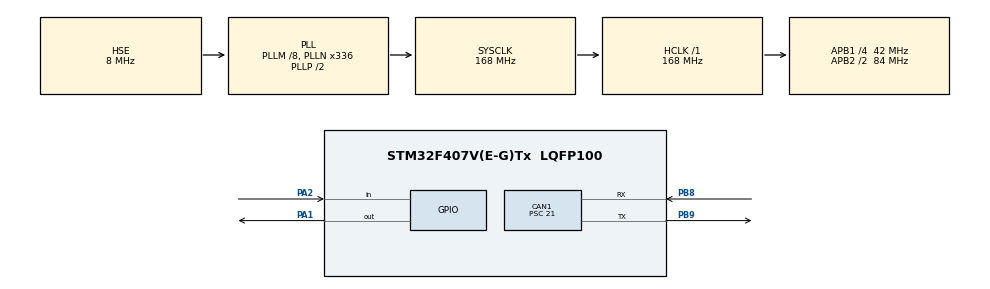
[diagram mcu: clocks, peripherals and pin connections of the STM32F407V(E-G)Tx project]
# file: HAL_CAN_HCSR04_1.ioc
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CAN1.BS1=CAN_BS1_10TQ
CAN1.BS2=CAN_BS2_5TQ
CAN1.CalculateBaudRate=125000
CAN1.CalculateTimeBit=8000
CAN1.CalculateTimeQuantum=500.0
CAN1.Prescaler=21
Mcu.Family=STM32F4
Mcu.Name=STM32F407V(E-G)Tx
Mcu.Package=LQFP100
NVIC.PriorityGroup=NVIC_PRIORITYGROUP_0
PA1.Signal=GPIO_Output
PA2.Signal=GPIO_Input
PB8.Mode=CAN_Activate
PB8.Signal=CAN1_RX
PB9.Mode=CAN_Activate
PB9.Signal=CAN1_TX
PH0-OSC_IN.Mode=HSE-External-Oscillator
PH0-OSC_IN.Signal=RCC_OSC_IN
PH1-OSC_OUT.Mode=HSE-External-Oscillator
PH1-OSC_OUT.Signal=RCC_OSC_OUT
ProjectManager.HeapSize=0x200
ProjectManager.StackSize=0x400
ProjectManager.TargetToolchain=STM32CubeIDE
RCC.48MHZClocksFreq_Value=48000000
RCC.AHBFreq_Value=168000000
RCC.APB1CLKDivider=RCC_HCLK_DIV4
RCC.APB1Freq_Value=42000000
RCC.APB1TimFreq_Value=84000000
RCC.APB2CLKDivider=RCC_HCLK_DIV2
RCC.APB2Freq_Value=84000000
RCC.APB2TimFreq_Value=168000000
RCC.CortexFreq_Value=168000000
RCC.HCLKFreq_Value=168000000
RCC.HSE_VALUE=8000000
RCC.HSI_VALUE=16000000
RCC.PLLM=8
RCC.PLLN=336
RCC.PLLQ=7
RCC.PLLSourceVirtual=RCC_PLLSOURCE_HSE
RCC.SYSCLKFreq_VALUE=168000000
RCC.SYSCLKSource=RCC_SYSCLKSOURCE_PLLCLK
RCC.VCOOutputFreq_Value=336000000
board=STM32F407G-DISC1

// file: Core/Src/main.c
/* USER CODE BEGIN Header */
/**
  ******************************************************************************
  * @file           : main.c
  * @brief          : Main program body
  ******************************************************************************
  * @attention
  *
  * Copyright (c) 2024 STMicroelectronics.
  * All rights reserved.
  *
  * This software is licensed under terms that can be found in the LICENSE file
  * in the root directory of this software component.
  * If no LICENSE file comes with this software, it is provided AS-IS.
  *
  ******************************************************************************
  */
/* USER CODE END Header */
#include "main.h"

/* USER CODE BEGIN Includes */
#include "dwt_stm32_delay.h"
/* USER CODE END Includes */

CAN_HandleTypeDef hcan1;

/* USER CODE BEGIN PV */

CAN_TxHeaderTypeDef pHeader;
uint32_t mTxMailbox;
uint32_t sensor_time;
uint32_t distance[2];

/* USER CODE END PV */

void SystemClock_Config(void);
static void MX_GPIO_Init(void);
static void MX_CAN1_Init(void);

/* USER CODE BEGIN 0 */
uint32_t Read_HCSR04()
{
	uint32_t local_time=0;
	HAL_GPIO_WritePin(GPIOA, GPIO_PIN_1, GPIO_PIN_SET);
	DWT_Delay_us(10);
	HAL_GPIO_WritePin(GPIOA, GPIO_PIN_1, GPIO_PIN_RESET);

	while(!(HAL_GPIO_ReadPin(GPIOA, GPIO_PIN_2)));

	while(HAL_GPIO_ReadPin(GPIOA, GPIO_PIN_2))
	{
		local_time++;
		DWT_Delay_us(1);

	}

	return local_time*2;

}

/* USER CODE END 0 */

int main(void)
{

  /* MCU Configuration--------------------------------------------------------*/

  /* Reset of all peripherals, Initializes the Flash interface and the Systick. */
  HAL_Init();

  /* Configure the system clock */
  SystemClock_Config();

  /* Initialize all configured peripherals */
  MX_GPIO_Init();
  MX_CAN1_Init();
  /* USER CODE BEGIN 2 */
  DWT_Delay_Init();
  pHeader.DLC=1;
  pHeader.IDE=CAN_ID_EXT;
  pHeader.RTR=CAN_RTR_DATA;
  pHeader.ExtId=0x0AF09CE6;

  HAL_CAN_Start(&hcan1);

  /* USER CODE END 2 */

  /* Infinite loop */
  while (1)
  {

    /* USER CODE BEGIN 3 */
	  sensor_time=Read_HCSR04();
	  distance[0]=sensor_time*0.34/2;
	  HAL_CAN_AddTxMessage(&hcan1, &pHeader, (uint8_t*)distance,mTxMailbox);

  }
  /* USER CODE END 3 */
}

void SystemClock_Config(void)
{
  RCC_OscInitTypeDef RCC_OscInitStruct = {0};
  RCC_ClkInitTypeDef RCC_ClkInitStruct = {0};

  /** Configure the main internal regulator output voltage
  */
  __HAL_RCC_PWR_CLK_ENABLE();
  __HAL_PWR_VOLTAGESCALING_CONFIG(PWR_REGULATOR_VOLTAGE_SCALE1);

  /** Initializes the RCC Oscillators according to the specified parameters
  * in the RCC_OscInitTypeDef structure.
  */
  RCC_OscInitStruct.OscillatorType = RCC_OSCILLATORTYPE_HSE;
  RCC_OscInitStruct.HSEState = RCC_HSE_ON;
  RCC_OscInitStruct.PLL.PLLState = RCC_PLL_ON;
  RCC_OscInitStruct.PLL.PLLSource = RCC_PLLSOURCE_HSE;
  RCC_OscInitStruct.PLL.PLLM = 8;
  RCC_OscInitStruct.PLL.PLLN = 336;
  RCC_OscInitStruct.PLL.PLLP = RCC_PLLP_DIV2;
  RCC_OscInitStruct.PLL.PLLQ = 7;
  if (HAL_RCC_OscConfig(&RCC_OscInitStruct) != HAL_OK)
  {
    Error_Handler();
  }

  /** Initializes the CPU, AHB and APB buses clocks
  */
  RCC_ClkInitStruct.ClockType = RCC_CLOCKTYPE_HCLK|RCC_CLOCKTYPE_SYSCLK
                              |RCC_CLOCKTYPE_PCLK1|RCC_CLOCKTYPE_PCLK2;
  RCC_ClkInitStruct.SYSCLKSource = RCC_SYSCLKSOURCE_PLLCLK;
  RCC_ClkInitStruct.AHBCLKDivider = RCC_SYSCLK_DIV1;
  RCC_ClkInitStruct.APB1CLKDivider = RCC_HCLK_DIV4;
  RCC_ClkInitStruct.APB2CLKDivider = RCC_HCLK_DIV2;

  if (HAL_RCC_ClockConfig(&RCC_ClkInitStruct, FLASH_LATENCY_5) != HAL_OK)
  {
    Error_Handler();
  }
}

static void MX_CAN1_Init(void)
{

  hcan1.Instance = CAN1;
  hcan1.Init.Prescaler = 21;
  hcan1.Init.Mode = CAN_MODE_NORMAL;
  hcan1.Init.SyncJumpWidth = CAN_SJW_1TQ;
  hcan1.Init.TimeSeg1 = CAN_BS1_10TQ;
  hcan1.Init.TimeSeg2 = CAN_BS2_5TQ;
  hcan1.Init.TimeTriggeredMode = DISABLE;
  hcan1.Init.AutoBusOff = DISABLE;
  hcan1.Init.AutoWakeUp = DISABLE;
  hcan1.Init.AutoRetransmission = DISABLE;
  hcan1.Init.ReceiveFifoLocked = DISABLE;
  hcan1.Init.TransmitFifoPriority = DISABLE;
  if (HAL_CAN_Init(&hcan1) != HAL_OK)
  {
    Error_Handler();
  }

}

static void MX_GPIO_Init(void)
{
  GPIO_InitTypeDef GPIO_InitStruct = {0};

  /* GPIO Ports Clock Enable */
  __HAL_RCC_GPIOH_CLK_ENABLE();
  __HAL_RCC_GPIOA_CLK_ENABLE();
  __HAL_RCC_GPIOB_CLK_ENABLE();

  /*Configure GPIO pin Output Level */
  HAL_GPIO_WritePin(GPIOA, GPIO_PIN_1, GPIO_PIN_RESET);

  /*Configure GPIO pin : PA1 */
  GPIO_InitStruct.Pin = GPIO_PIN_1;
  GPIO_InitStruct.Mode = GPIO_MODE_OUTPUT_PP;
  GPIO_InitStruct.Pull = GPIO_NOPULL;
  GPIO_InitStruct.Speed = GPIO_SPEED_FREQ_LOW;
  HAL_GPIO_Init(GPIOA, &GPIO_InitStruct);

  /*Configure GPIO pin : PA2 */
  GPIO_InitStruct.Pin = GPIO_PIN_2;
  GPIO_InitStruct.Mode = GPIO_MODE_INPUT;
  GPIO_InitStruct.Pull = GPIO_NOPULL;
  HAL_GPIO_Init(GPIOA, &GPIO_InitStruct);

}

void Error_Handler(void)
{
  __disable_irq();
  while (1)
  {
  }
}
